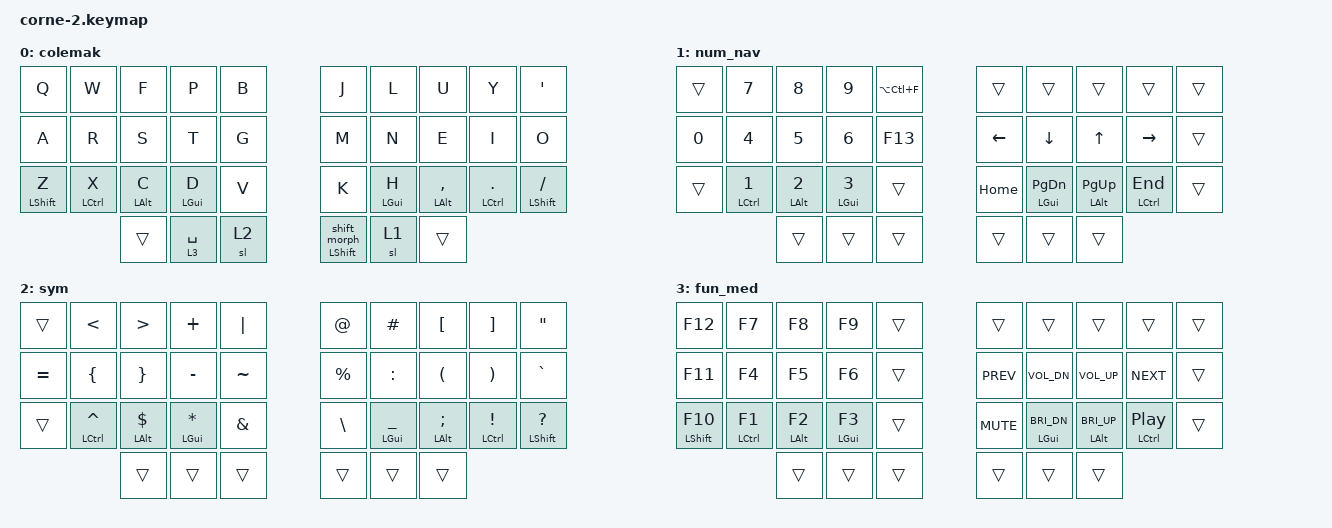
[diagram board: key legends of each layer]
#define ___ &trans

#include <behaviors.dtsi>
#include <dt-bindings/zmk/keys.h>
#include <dt-bindings/zmk/bt.h>

/ {
    combos {
        compatible = "zmk,combos";
        combo_tab {
            timeout-ms = <35>;
            key-positions = <1 2>;
            bindings = <&kp TAB>;
            require-prior-idle-ms = <125>;
        };
        combo_shift_tab {
            timeout-ms = <45>;
            key-positions = <1 2 3>;
            bindings = <&kp LS(TAB)>;
            require-prior-idle-ms = <125>;
        };
        combo_ret {
            timeout-ms = <35>;
            key-positions = <7 8>;
            bindings = <&kp RET>;
            require-prior-idle-ms = <125>;
        };
        combo_shift_ret {
            timeout-ms = <45>;
            key-positions = <6 7 8>;
            bindings = <&kp LS(RET)>;
            require-prior-idle-ms = <125>;
        };
        combo_esc {
            timeout-ms = <35>;
            key-positions = <11 12>;
            bindings = <&kp ESC>;
            require-prior-idle-ms = <125>;
        };
        combo_bspc {
            timeout-ms = <35>;
            key-positions = <17 18>;
            bindings = <&kp BSPC>;
            require-prior-idle-ms = <125>;
        };
        combo_alt_bspc {
            timeout-ms = <45>;
            key-positions = <16 17 18>;
            bindings = <&kp LA(BSPC)>;
            require-prior-idle-ms = <125>;
        };
        combo_del {
            timeout-ms = <35>;
            key-positions = <18 19>;
            bindings = <&kp DEL>;
            require-prior-idle-ms = <125>;
        };
        combo_caps {
            timeout-ms = <35>;
            key-positions = <32 33>;
            bindings = <&kp CAPS>;
            require-prior-idle-ms = <125>;
        };
    };
};

// make sticky keys release on the next key press instead of the default key
// release, this was causing problems with rolling letters
&sk {
    quick-release;
};

/ {
    chosen {
        zmk,physical-layout = &foostan_corne_5col_layout;
    };

    // NOTE: unfortunately hold-trigger-key-positions and
    // hold-trigger-on-release don't work if you quickly hit a key not in
    // hold-trigger-key-positions and then try and do a hold. With rpi it's
    // fine since the idle ms is long enough.
    behaviors {
        // urob idea: use mod-morph instead of tap-dance to avoid the delay.
        // The first press activates shift, the second press sees that shift is
        // active and triggers caps_word.
        shift_morph: shift_morph {
            compatible = "zmk,behavior-mod-morph";
            #binding-cells = <0>;
            bindings = <&sk LSHFT>, <&caps_word>;
            mods = <(MOD_LSFT)>;
        };
        msft: magic_shift {
            compatible = "zmk,behavior-hold-tap";
            #binding-cells = <2>;
            flavor = "balanced";
            tapping-term-ms = <200>;
            quick-tap-ms = <200>;
            bindings = <&kp>, <&shift_morph>;
        };

        blt: balanced_layer_tap {
            compatible = "zmk,behavior-hold-tap";
            flavor = "balanced";
            bindings = <&mo>, <&kp>;
            #binding-cells = <2>;
            tapping-term-ms = <200>;
            quick-tap-ms = <200>;
        };
        bmt: balanced_mod_tap {
            compatible = "zmk,behavior-hold-tap";
            flavor = "balanced";
            bindings = <&kp>, <&kp>;
            #binding-cells = <2>;
            tapping-term-ms = <200>;
            quick-tap-ms = <200>;
        };
        lmt: left_mod_tap {
            compatible = "zmk,behavior-hold-tap";
            flavor = "balanced";
            bindings = <&kp>, <&kp>;
            #binding-cells = <2>;
            tapping-term-ms = <200>;
            quick-tap-ms = <200>;
            require-prior-idle-ms = <125>;
            hold-trigger-key-positions = <5 6 7 8 9 15 16 17 18 19 25 26 27 28 29 33 34 35>;
            hold-trigger-on-release;
        };
        rmt: right_mod_tap {
            compatible = "zmk,behavior-hold-tap";
            flavor = "balanced";
            bindings = <&kp>, <&kp>;
            #binding-cells = <2>;
            tapping-term-ms = <200>;
            quick-tap-ms = <200>;
            require-prior-idle-ms = <125>;
            hold-trigger-key-positions = <0 1 2 3 4 10 11 12 13 14 20 21 22 23 24 30 31 32>;
            hold-trigger-on-release;
        };
    };

    keymap {
        compatible = "zmk,keymap";

        colemak {
            bindings = <
&kp Q               &kp W               &kp F               &kp P               &kp B               &kp J               &kp L               &kp U               &kp Y               &kp SQT
&kp A               &kp R               &kp S               &kp T               &kp G               &kp M               &kp N               &kp E               &kp I               &kp O
&lmt LSHIFT Z       &lmt LCTRL X        &lmt LALT C         &lmt LGUI D         &kp V               &kp K               &rmt LGUI H         &rmt LALT COMMA     &rmt LCTRL DOT      &rmt LSHIFT FSLH
                                        ___                 &blt 3 SPACE        &sl 2               &msft LSHIFT 0      &sl 1               ___
            >;
        };

        num_nav {
            bindings = <
___                 &kp N7              &kp N8              &kp N9              &kp LA(LC(F))       ___                 ___                 ___                 ___                 ___
&kp N0              &kp N4              &kp N5              &kp N6              &kp F13             &kp LEFT            &kp DOWN            &kp UP              &kp RIGHT           ___
___                 &lmt LCTRL N1       &lmt LALT N2        &lmt LGUI N3        ___                 &kp HOME            &rmt LGUI PG_DN     &rmt LALT PG_UP     &rmt LCTRL END      ___
                                        ___                 ___                 ___                 ___                 ___                 ___
            >;
        };

        sym {
            bindings = <
___                 &kp LT              &kp GT              &kp PLUS            &kp PIPE            &kp AT              &kp HASH            &kp LBKT            &kp RBKT            &kp DQT
&kp EQUAL           &kp LBRC            &kp RBRC            &kp MINUS           &kp TILDE           &kp PRCNT           &kp COLON           &kp LPAR            &kp RPAR            &kp GRAVE
___                 &lmt LCTRL CARET    &lmt LALT DLLR      &lmt LGUI STAR      &kp AMPS            &kp BSLH            &rmt LGUI UNDER     &rmt LALT SEMI      &rmt LCTRL EXCL     &rmt LSHIFT QMARK
                                        ___                 ___                 ___                 ___                 ___                 ___
            >;
        };

        fun_med {
            bindings = <
&kp F12             &kp F7              &kp F8              &kp F9              ___                 ___                 ___                 ___                 ___                 ___
&kp F11             &kp F4              &kp F5              &kp F6              ___                 &kp C_PREV          &kp C_VOL_DN        &kp C_VOL_UP        &kp C_NEXT          ___
&lmt LSHIFT F10     &lmt LCTRL F1       &lmt LALT F2        &lmt LGUI F3        ___                 &kp C_MUTE          &rmt LGUI C_BRI_DN  &rmt LALT C_BRI_UP  &rmt LCTRL C_PP     ___
                                        ___                 ___                 ___                 ___                 ___                 ___
            >;
        };
    };
};
